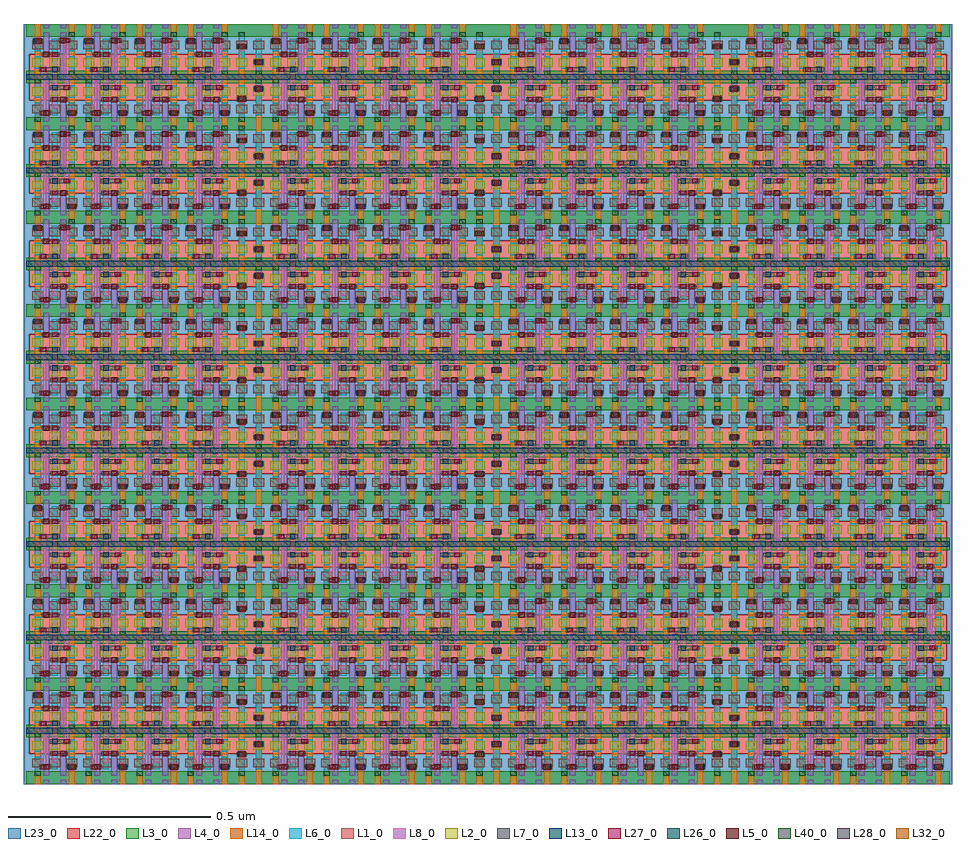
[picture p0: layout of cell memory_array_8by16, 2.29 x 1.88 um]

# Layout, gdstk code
import gdstk
lib = gdstk.Library(unit=1e-6, precision=2.5e-10)
def R(c, l, rs):  # rectangles x0, y0, x1, y1
    for r in rs: c.add(gdstk.rectangle(r[:2], r[2:], *l))
def A(c, l, x, y, w, h, nx, ny, dx, dy):  # array of equal rectangles
    R(c, l, [(x+i*dx, y+j*dy, x+i*dx+w, y+j*dy+h) for i in range(nx) for j in range(ny)])
L1_0 = (1, 0)
L2_0 = (2, 0)
L3_0 = (3, 0)
L4_0 = (4, 0)
L5_0 = (5, 0)
L6_0 = (6, 0)
L7_0 = (7, 0)
L8_0 = (8, 0)
L13_0 = (13, 0)
L14_0 = (14, 0)
L22_0 = (22, 0)
L23_0 = (23, 0)
L26_0 = (26, 0)
L27_0 = (27, 0)
L28_0 = (28, 0)
L32_0 = (32, 0)
L40_0 = (40, 0)

sram_6t = lib.new_cell('sram_6t')
A(sram_6t, L1_0, 0.015, 0.042, 0.027, 0.021, 3, 2, 0.042, 0.1575)
A(sram_6t, L2_0, 0.015, 0.0845, 0.027, 0.021, 3, 2, 0.042, 0.0725)
A(sram_6t, L3_0, 0, 0, 0.141, 0.0315, 1, 3, 0, 0.1155)
R(sram_6t, L4_0, [(0.042,0,0.057,0.0105), (0.084,0,0.099,0.0105), (0.042,0.021,0.057,0.126), (0.084,0.021,0.099,0.0825), (0.084,0.1225,0.099,0.126), (0.042,0.1365,0.057,0.14), (0.084,0.1365,0.099,0.2415), (0.042,0.18,0.057,0.2415), (0.042,0.252,0.057,0.2625), (0.084,0.252,0.099,0.2625)])
R(sram_6t, L5_0, [(0.042,0.036,0.057,0.049), (0.084,0.069,0.099,0.082), (0.042,0.1805,0.057,0.1935), (0.084,0.215,0.099,0.228)])
R(sram_6t, L6_0, [(0.021,0.021,0.036,0.068), (0.063,0.037,0.078,0.1105), (0.105,0.037,0.12,0.068), (0.021,0.0795,0.036,0.126), (0.105,0.0795,0.12,0.1105), (0.105,0.1365,0.12,0.183), (0.063,0.1445,0.078,0.2255), (0.021,0.152,0.036,0.183), (0.021,0.1945,0.036,0.2255), (0.105,0.1945,0.12,0.2415)])
R(sram_6t, L7_0, [(0.0315,0.037,0.0605,0.048), (0.1,0.037,0.125,0.048), (0.0595,0.07,0.1025,0.081), (0.058,0.0995,0.11,0.1105), (0.0315,0.1445,0.083,0.1555), (0.0385,0.1815,0.0815,0.1925), (0.016,0.2145,0.041,0.2255), (0.0805,0.216,0.11,0.227)])
R(sram_6t, L8_0, [(0.1055,0.0325,0.1195,0.0525), (0.0355,0.0345,0.0495,0.157), (0.0635,0.0525,0.0775,0.194), (0.092,0.098,0.106,0.2285), (0.0215,0.21,0.0355,0.23)])
R(sram_6t, L13_0, [(0.1025,0.0355,0.1225,0.0495), (0,0.1245,0.141,0.1385), (0.0185,0.213,0.0385,0.227)])
R(sram_6t, L14_0, [(0.021,0,0.036,0.2625), (0.105,0,0.12,0.2625)])
R(sram_6t, L22_0, [(0.0075,0.0745,0.1335,0.188)])
R(sram_6t, L23_0, [(-0.006,0,0.147,0.0745), (-0.006,0.188,0.147,0.2625)])
R(sram_6t, L26_0, [(0.106,0.036,0.119,0.049), (0.064,0.0985,0.077,0.1115), (0.064,0.1435,0.077,0.1565), (0.022,0.2135,0.035,0.2265)])
R(sram_6t, L27_0, [(0.0355,0.037,0.0495,0.047), (0.1055,0.0375,0.1195,0.0475), (0.0635,0.071,0.0775,0.081), (0.092,0.1005,0.106,0.1105), (0.0355,0.1445,0.0495,0.1545), (0.0635,0.1815,0.0775,0.1915), (0.0215,0.2145,0.0355,0.2245), (0.092,0.216,0.106,0.226)])
R(sram_6t, L28_0, [(0.1055,0.0355,0.1195,0.0495), (0.0635,0.1245,0.0775,0.1385), (0.0215,0.213,0.0355,0.227)])
R(sram_6t, L32_0, [(0.1055,0.0355,0.1195,0.0495), (0.0215,0.213,0.0355,0.227)])
R(sram_6t, L40_0, [(0.021,0.021,0.036,0.0315), (0.021,0.1155,0.036,0.126), (0.105,0.1365,0.12,0.147), (0.105,0.231,0.12,0.2415)])

sram_filler = lib.new_cell('sram_filler')
R(sram_filler, L1_0, [(0.022,0.042,0.049,0.063), (0.064,0.042,0.091,0.063)])
R(sram_filler, L2_0, [(0.022,0.0845,0.049,0.1055), (0.064,0.0845,0.091,0.1055)])
R(sram_filler, L3_0, [(0.001,0,0.112,0.0315), (0.001,0.1155,0.112,0.147)])
R(sram_filler, L6_0, [(0.028,0.021,0.043,0.1105), (0.07,0.037,0.085,0.126)])
R(sram_filler, L22_0, [(0.001,0.0745,0.112,0.147)])
R(sram_filler, L23_0, [(0.001,0,0.112,0.0745)])
R(sram_filler, L40_0, [(0.028,0.021,0.043,0.0315), (0.07,0.1155,0.085,0.126)])

memory_array_8by16 = lib.new_cell('memory_array_8by16')
A(memory_array_8by16, L1_0, 0.043, 0.0465, 0.027, 0.021, 12, 2, 0.042, 0.1575)
A(memory_array_8by16, L1_0, 0.631, 0.0465, 0.027, 0.021, 12, 2, 0.042, 0.1575)
A(memory_array_8by16, L1_0, 1.219, 0.0465, 0.027, 0.021, 12, 2, 0.042, 0.1575)
A(memory_array_8by16, L1_0, 1.807, 0.0465, 0.027, 0.021, 12, 2, 0.042, 0.1575)
A(memory_array_8by16, L1_0, 0.043, 0.2775, 0.027, 0.021, 12, 2, 0.042, 0.1575)
A(memory_array_8by16, L1_0, 0.631, 0.2775, 0.027, 0.021, 12, 2, 0.042, 0.1575)
A(memory_array_8by16, L1_0, 1.219, 0.2775, 0.027, 0.021, 12, 2, 0.042, 0.1575)
A(memory_array_8by16, L1_0, 1.807, 0.2775, 0.027, 0.021, 12, 2, 0.042, 0.1575)
A(memory_array_8by16, L1_0, 0.043, 0.5085, 0.027, 0.021, 12, 2, 0.042, 0.1575)
A(memory_array_8by16, L1_0, 0.631, 0.5085, 0.027, 0.021, 12, 2, 0.042, 0.1575)
A(memory_array_8by16, L1_0, 1.219, 0.5085, 0.027, 0.021, 12, 2, 0.042, 0.1575)
A(memory_array_8by16, L1_0, 1.807, 0.5085, 0.027, 0.021, 12, 2, 0.042, 0.1575)
A(memory_array_8by16, L1_0, 0.043, 0.7395, 0.027, 0.021, 12, 2, 0.042, 0.1575)
A(memory_array_8by16, L1_0, 0.631, 0.7395, 0.027, 0.021, 12, 2, 0.042, 0.1575)
A(memory_array_8by16, L1_0, 1.219, 0.7395, 0.027, 0.021, 12, 2, 0.042, 0.1575)
A(memory_array_8by16, L1_0, 1.807, 0.7395, 0.027, 0.021, 12, 2, 0.042, 0.1575)
A(memory_array_8by16, L1_0, 0.043, 0.9705, 0.027, 0.021, 12, 2, 0.042, 0.1575)
A(memory_array_8by16, L1_0, 0.631, 0.9705, 0.027, 0.021, 12, 2, 0.042, 0.1575)
A(memory_array_8by16, L1_0, 1.219, 0.9705, 0.027, 0.021, 12, 2, 0.042, 0.1575)
A(memory_array_8by16, L1_0, 1.807, 0.9705, 0.027, 0.021, 12, 2, 0.042, 0.1575)
A(memory_array_8by16, L1_0, 0.043, 1.2015, 0.027, 0.021, 12, 2, 0.042, 0.1575)
A(memory_array_8by16, L1_0, 0.631, 1.2015, 0.027, 0.021, 12, 2, 0.042, 0.1575)
A(memory_array_8by16, L1_0, 1.219, 1.2015, 0.027, 0.021, 12, 2, 0.042, 0.1575)
A(memory_array_8by16, L1_0, 1.807, 1.2015, 0.027, 0.021, 12, 2, 0.042, 0.1575)
A(memory_array_8by16, L1_0, 0.043, 1.4325, 0.027, 0.021, 12, 2, 0.042, 0.1575)
A(memory_array_8by16, L1_0, 0.631, 1.4325, 0.027, 0.021, 12, 2, 0.042, 0.1575)
A(memory_array_8by16, L1_0, 1.219, 1.4325, 0.027, 0.021, 12, 2, 0.042, 0.1575)
A(memory_array_8by16, L1_0, 1.807, 1.4325, 0.027, 0.021, 12, 2, 0.042, 0.1575)
A(memory_array_8by16, L1_0, 0.043, 1.6635, 0.027, 0.021, 12, 2, 0.042, 0.1575)
A(memory_array_8by16, L1_0, 0.631, 1.6635, 0.027, 0.021, 12, 2, 0.042, 0.1575)
A(memory_array_8by16, L1_0, 1.219, 1.6635, 0.027, 0.021, 12, 2, 0.042, 0.1575)
A(memory_array_8by16, L1_0, 1.807, 1.6635, 0.027, 0.021, 12, 2, 0.042, 0.1575)
A(memory_array_8by16, L4_0, 0.07, 0.0255, 0.015, 0.105, 4, 8, 0.126, 0.231)
A(memory_array_8by16, L4_0, 0.112, 0.0255, 0.015, 0.0615, 4, 8, 0.126, 0.231)
A(memory_array_8by16, L4_0, 0.658, 0.0255, 0.015, 0.105, 4, 8, 0.126, 0.231)
A(memory_array_8by16, L4_0, 0.7, 0.0255, 0.015, 0.0615, 4, 8, 0.126, 0.231)
A(memory_array_8by16, L4_0, 1.246, 0.0255, 0.015, 0.105, 4, 8, 0.126, 0.231)
A(memory_array_8by16, L4_0, 1.288, 0.0255, 0.015, 0.0615, 4, 8, 0.126, 0.231)
A(memory_array_8by16, L4_0, 1.834, 0.0255, 0.015, 0.105, 4, 8, 0.126, 0.231)
A(memory_array_8by16, L4_0, 1.876, 0.0255, 0.015, 0.0615, 4, 8, 0.126, 0.231)
A(memory_array_8by16, L4_0, 0.112, 0.141, 0.015, 0.105, 4, 8, 0.126, 0.231)
A(memory_array_8by16, L4_0, 0.7, 0.141, 0.015, 0.105, 4, 8, 0.126, 0.231)
A(memory_array_8by16, L4_0, 1.288, 0.141, 0.015, 0.105, 4, 8, 0.126, 0.231)
A(memory_array_8by16, L4_0, 1.876, 0.141, 0.015, 0.105, 4, 8, 0.126, 0.231)
A(memory_array_8by16, L4_0, 0.07, 0.1845, 0.015, 0.0615, 4, 8, 0.126, 0.231)
A(memory_array_8by16, L4_0, 0.658, 0.1845, 0.015, 0.0615, 4, 8, 0.126, 0.231)
A(memory_array_8by16, L4_0, 1.246, 0.1845, 0.015, 0.0615, 4, 8, 0.126, 0.231)
A(memory_array_8by16, L4_0, 1.834, 0.1845, 0.015, 0.0615, 4, 8, 0.126, 0.231)
R(memory_array_8by16, L4_0, [(0.07,0.0045,0.085,0.015), (0.112,0.0045,0.127,0.015), (0.196,0.0045,0.211,0.015), (0.238,0.0045,0.253,0.015), (0.322,0.0045,0.337,0.015), (0.364,0.0045,0.379,0.015), (0.448,0.0045,0.463,0.015), (0.49,0.0045,0.505,0.015), (0.658,0.0045,0.673,0.015), (0.7,0.0045,0.715,0.015), (0.784,0.0045,0.799,0.015), (0.826,0.0045,0.841,0.015), (0.91,0.0045,0.925,0.015), (0.952,0.0045,0.967,0.015), (1.036,0.0045,1.051,0.015), (1.078,0.0045,1.093,0.015), (1.246,0.0045,1.261,0.015), (1.288,0.0045,1.303,0.015), (1.372,0.0045,1.387,0.015), (1.414,0.0045,1.429,0.015), (1.498,0.0045,1.513,0.015), (1.54,0.0045,1.555,0.015), (1.624,0.0045,1.639,0.015), (1.666,0.0045,1.681,0.015), (1.834,0.0045,1.849,0.015), (1.876,0.0045,1.891,0.015), (1.96,0.0045,1.975,0.015), (2.002,0.0045,2.017,0.015), (2.086,0.0045,2.101,0.015), (2.128,0.0045,2.143,0.015), (2.212,0.0045,2.227,0.015), (2.254,0.0045,2.269,0.015), (0.07,1.8735,0.085,1.884), (0.112,1.8735,0.127,1.884), (0.196,1.8735,0.211,1.884), (0.238,1.8735,0.253,1.884), (0.322,1.8735,0.337,1.884), (0.364,1.8735,0.379,1.884), (0.448,1.8735,0.463,1.884), (0.49,1.8735,0.505,1.884), (0.658,1.8735,0.673,1.884), (0.7,1.8735,0.715,1.884), (0.784,1.8735,0.799,1.884), (0.826,1.8735,0.841,1.884), (0.91,1.8735,0.925,1.884), (0.952,1.8735,0.967,1.884), (1.036,1.8735,1.051,1.884), (1.078,1.8735,1.093,1.884), (1.246,1.8735,1.261,1.884), (1.288,1.8735,1.303,1.884), (1.372,1.8735,1.387,1.884), (1.414,1.8735,1.429,1.884), (1.498,1.8735,1.513,1.884), (1.54,1.8735,1.555,1.884), (1.624,1.8735,1.639,1.884), (1.666,1.8735,1.681,1.884), (1.834,1.8735,1.849,1.884), (1.876,1.8735,1.891,1.884), (1.96,1.8735,1.975,1.884), (2.002,1.8735,2.017,1.884), (2.086,1.8735,2.101,1.884), (2.128,1.8735,2.143,1.884), (2.212,1.8735,2.227,1.884), (2.254,1.8735,2.269,1.884)])
A(memory_array_8by16, L6_0, 0.553, 0.0725, 0.015, 0.011, 3, 2, 0.588, 0.129)
A(memory_array_8by16, L6_0, 0.595, 0.0975, 0.015, 0.011, 3, 2, 0.588, 0.0655)
A(memory_array_8by16, L6_0, 0.553, 0.3035, 0.015, 0.011, 3, 2, 0.588, 0.129)
A(memory_array_8by16, L6_0, 0.595, 0.3285, 0.015, 0.011, 3, 2, 0.588, 0.0655)
A(memory_array_8by16, L6_0, 0.553, 0.5315, 0.015, 0.011, 3, 2, 0.588, 0.129)
A(memory_array_8by16, L6_0, 0.595, 0.5565, 0.015, 0.011, 3, 2, 0.588, 0.0655)
A(memory_array_8by16, L6_0, 0.553, 0.766, 0.015, 0.011, 3, 2, 0.588, 0.129)
A(memory_array_8by16, L6_0, 0.595, 0.791, 0.015, 0.011, 3, 2, 0.588, 0.0655)
A(memory_array_8by16, L6_0, 0.553, 0.9975, 0.015, 0.011, 3, 2, 0.588, 0.129)
A(memory_array_8by16, L6_0, 0.595, 1.0225, 0.015, 0.011, 3, 2, 0.588, 0.0655)
A(memory_array_8by16, L6_0, 0.553, 1.231, 0.015, 0.011, 3, 2, 0.588, 0.129)
A(memory_array_8by16, L6_0, 0.595, 1.256, 0.015, 0.011, 3, 2, 0.588, 0.0655)
A(memory_array_8by16, L6_0, 0.553, 1.461, 0.015, 0.011, 3, 2, 0.588, 0.129)
A(memory_array_8by16, L6_0, 0.595, 1.486, 0.015, 0.011, 3, 2, 0.588, 0.0655)
A(memory_array_8by16, L6_0, 0.553, 1.6935, 0.015, 0.011, 3, 2, 0.588, 0.129)
A(memory_array_8by16, L6_0, 0.595, 1.7185, 0.015, 0.011, 3, 2, 0.588, 0.0655)
A(memory_array_8by16, L7_0, 0.548, 0.0725, 0.025, 0.011, 3, 2, 0.588, 0.129)
A(memory_array_8by16, L7_0, 0.59, 0.0975, 0.025, 0.011, 3, 2, 0.588, 0.0655)
A(memory_array_8by16, L7_0, 0.548, 0.3035, 0.025, 0.011, 3, 2, 0.588, 0.129)
A(memory_array_8by16, L7_0, 0.59, 0.3285, 0.025, 0.011, 3, 2, 0.588, 0.0655)
A(memory_array_8by16, L7_0, 0.548, 0.5315, 0.025, 0.011, 3, 2, 0.588, 0.129)
A(memory_array_8by16, L7_0, 0.59, 0.5565, 0.025, 0.011, 3, 2, 0.588, 0.0655)
A(memory_array_8by16, L7_0, 0.548, 0.766, 0.025, 0.011, 3, 2, 0.588, 0.129)
A(memory_array_8by16, L7_0, 0.59, 0.791, 0.025, 0.011, 3, 2, 0.588, 0.0655)
A(memory_array_8by16, L7_0, 0.548, 0.9975, 0.025, 0.011, 3, 2, 0.588, 0.129)
A(memory_array_8by16, L7_0, 0.59, 1.0225, 0.025, 0.011, 3, 2, 0.588, 0.0655)
A(memory_array_8by16, L7_0, 0.548, 1.231, 0.025, 0.011, 3, 2, 0.588, 0.129)
A(memory_array_8by16, L7_0, 0.59, 1.256, 0.025, 0.011, 3, 2, 0.588, 0.0655)
A(memory_array_8by16, L7_0, 0.548, 1.461, 0.025, 0.011, 3, 2, 0.588, 0.129)
A(memory_array_8by16, L7_0, 0.59, 1.486, 0.025, 0.011, 3, 2, 0.588, 0.0655)
A(memory_array_8by16, L7_0, 0.548, 1.6935, 0.025, 0.011, 3, 2, 0.588, 0.129)
A(memory_array_8by16, L7_0, 0.59, 1.7185, 0.025, 0.011, 3, 2, 0.588, 0.0655)
A(memory_array_8by16, L8_0, 0.5535, 0.068, 0.014, 0.02, 3, 2, 0.588, 0.129)
A(memory_array_8by16, L8_0, 0.5955, 0.093, 0.014, 0.02, 3, 2, 0.588, 0.0655)
A(memory_array_8by16, L8_0, 0.5535, 0.299, 0.014, 0.02, 3, 2, 0.588, 0.129)
A(memory_array_8by16, L8_0, 0.5955, 0.324, 0.014, 0.02, 3, 2, 0.588, 0.0655)
A(memory_array_8by16, L8_0, 0.5535, 0.527, 0.014, 0.02, 3, 2, 0.588, 0.129)
A(memory_array_8by16, L8_0, 0.5955, 0.552, 0.014, 0.02, 3, 2, 0.588, 0.0655)
A(memory_array_8by16, L8_0, 0.5535, 0.7615, 0.014, 0.02, 3, 2, 0.588, 0.129)
A(memory_array_8by16, L8_0, 0.5955, 0.7865, 0.014, 0.02, 3, 2, 0.588, 0.0655)
A(memory_array_8by16, L8_0, 0.5535, 0.993, 0.014, 0.02, 3, 2, 0.588, 0.129)
A(memory_array_8by16, L8_0, 0.5955, 1.018, 0.014, 0.02, 3, 2, 0.588, 0.0655)
A(memory_array_8by16, L8_0, 0.5535, 1.2265, 0.014, 0.02, 3, 2, 0.588, 0.129)
A(memory_array_8by16, L8_0, 0.5955, 1.2515, 0.014, 0.02, 3, 2, 0.588, 0.0655)
A(memory_array_8by16, L8_0, 0.5535, 1.4565, 0.014, 0.02, 3, 2, 0.588, 0.129)
A(memory_array_8by16, L8_0, 0.5955, 1.4815, 0.014, 0.02, 3, 2, 0.588, 0.0655)
A(memory_array_8by16, L8_0, 0.5535, 1.689, 0.014, 0.02, 3, 2, 0.588, 0.129)
A(memory_array_8by16, L8_0, 0.5955, 1.714, 0.014, 0.02, 3, 2, 0.588, 0.0655)
A(memory_array_8by16, L13_0, 0.5505, 0.071, 0.02, 0.014, 3, 2, 0.588, 0.129)
A(memory_array_8by16, L13_0, 0.5925, 0.096, 0.02, 0.014, 3, 2, 0.588, 0.0655)
A(memory_array_8by16, L13_0, 1.135, 0.129, 0.069, 0.014, 1, 8, 0, 0.231)
A(memory_array_8by16, L13_0, 1.723, 0.129, 0.069, 0.014, 1, 8, 0, 0.231)
A(memory_array_8by16, L13_0, 0.5505, 0.302, 0.02, 0.014, 3, 2, 0.588, 0.129)
A(memory_array_8by16, L13_0, 0.5925, 0.327, 0.02, 0.014, 3, 2, 0.588, 0.0655)
A(memory_array_8by16, L13_0, 0.5505, 0.53, 0.02, 0.014, 3, 2, 0.588, 0.129)
A(memory_array_8by16, L13_0, 0.5925, 0.555, 0.02, 0.014, 3, 2, 0.588, 0.0655)
A(memory_array_8by16, L13_0, 0.5505, 0.7645, 0.02, 0.014, 3, 2, 0.588, 0.129)
A(memory_array_8by16, L13_0, 0.5925, 0.7895, 0.02, 0.014, 3, 2, 0.588, 0.0655)
A(memory_array_8by16, L13_0, 0.5465, 0.822, 0.0705, 0.014, 1, 3, 0, 0.462)
A(memory_array_8by16, L13_0, 0.5505, 0.996, 0.02, 0.014, 3, 2, 0.588, 0.129)
A(memory_array_8by16, L13_0, 0.5925, 1.021, 0.02, 0.014, 3, 2, 0.588, 0.0655)
A(memory_array_8by16, L13_0, 0.5505, 1.2295, 0.02, 0.014, 3, 2, 0.588, 0.129)
A(memory_array_8by16, L13_0, 0.5925, 1.2545, 0.02, 0.014, 3, 2, 0.588, 0.0655)
A(memory_array_8by16, L13_0, 0.5505, 1.4595, 0.02, 0.014, 3, 2, 0.588, 0.129)
A(memory_array_8by16, L13_0, 0.5925, 1.4845, 0.02, 0.014, 3, 2, 0.588, 0.0655)
A(memory_array_8by16, L13_0, 0.5505, 1.692, 0.02, 0.014, 3, 2, 0.588, 0.129)
A(memory_array_8by16, L13_0, 0.5925, 1.717, 0.02, 0.014, 3, 2, 0.588, 0.0655)
R(memory_array_8by16, L13_0, [(0.5465,0.129,0.616,0.143), (2.2945,0.135,2.3005,0.142), (0.547,0.36,0.619,0.374), (2.2945,0.363,2.3085,0.373), (0.547,0.591,0.6355,0.605), (2.2945,0.5925,2.308,0.603), (2.2955,0.8235,2.3085,0.8335), (0.547,1.053,0.617,1.067), (2.2965,1.0545,2.309,1.066), (2.2965,1.2855,2.308,1.2955), (0.547,1.515,0.617,1.529), (2.2965,1.5175,2.308,1.5265), (2.295,1.7485,2.307,1.758)])
A(memory_array_8by16, L14_0, 0.553, 0.0045, 0.015, 1.8335, 3, 1, 0.588, 0)
A(memory_array_8by16, L14_0, 0.595, 0.0045, 0.015, 1.795, 3, 1, 0.588, 0)
R(memory_array_8by16, L14_0, [(0.513,0.006,0.5235,0.018), (1.228,0.006,1.2385,0.0185), (1.3105,0.006,1.321,0.018), (0.135,0.0065,0.1465,0.018), (1.8995,0.0065,1.9095,0.0185), (0.0505,0.007,0.062,0.0205), (0.2615,0.007,0.271,0.018), (0.3875,0.007,0.397,0.018), (0.4295,0.007,0.441,0.0185), (0.7235,0.007,0.734,0.0185), (0.7655,0.007,0.7755,0.0185), (0.892,0.007,0.901,0.0175), (0.976,0.007,0.9845,0.0175), (1.354,0.007,1.363,0.0185), (1.4375,0.007,1.447,0.017), (1.4795,0.007,1.488,0.0165), (1.6885,0.007,1.7,0.0165), (1.8155,0.007,1.8255,0.0195), (2.2775,0.007,2.2865,0.018), (0.177,0.0075,0.187,0.0185), (0.303,0.0075,0.3135,0.019), (2.025,0.0075,2.0335,0.0195), (2.194,0.0075,2.203,0.021), (0.64,0.008,0.649,0.019), (1.564,0.008,1.575,0.016), (1.605,0.008,1.6155,0.019), (1.942,0.008,1.95,0.017), (2.1535,0.008,2.1615,0.018), (0.8495,0.009,0.859,0.0195), (1.102,0.009,1.1115,0.017), (2.068,0.009,2.076,0.0185), (1.0185,0.0095,1.026,0.018)])
A(memory_array_8by16, L23_0, 0.553, 0.0045, 0.057, 0.0745, 3, 2, 0.588, 1.805)
A(memory_array_8by16, L23_0, 0.022, 0.079, 0.0135, 0.1135, 1, 8, 0, 0.231)
A(memory_array_8by16, L23_0, 2.3035, 0.079, 0.0135, 0.1135, 1, 8, 0, 0.231)
A(memory_array_8by16, L23_0, 0.553, 0.1925, 0.057, 0.1175, 3, 7, 0.588, 0.231)
A(memory_array_8by16, L26_0, 0.554, 0.0715, 0.013, 0.013, 3, 2, 0.588, 0.129)
A(memory_array_8by16, L26_0, 0.596, 0.0965, 0.013, 0.013, 3, 2, 0.588, 0.0655)
A(memory_array_8by16, L26_0, 0.554, 0.3025, 0.013, 0.013, 3, 2, 0.588, 0.129)
A(memory_array_8by16, L26_0, 0.596, 0.3275, 0.013, 0.013, 3, 2, 0.588, 0.0655)
A(memory_array_8by16, L26_0, 0.554, 0.5305, 0.013, 0.013, 3, 2, 0.588, 0.129)
A(memory_array_8by16, L26_0, 0.596, 0.5555, 0.013, 0.013, 3, 2, 0.588, 0.0655)
A(memory_array_8by16, L26_0, 0.554, 0.765, 0.013, 0.013, 3, 2, 0.588, 0.129)
A(memory_array_8by16, L26_0, 0.596, 0.79, 0.013, 0.013, 3, 2, 0.588, 0.0655)
A(memory_array_8by16, L26_0, 0.554, 0.9965, 0.013, 0.013, 3, 2, 0.588, 0.129)
A(memory_array_8by16, L26_0, 0.596, 1.0215, 0.013, 0.013, 3, 2, 0.588, 0.0655)
A(memory_array_8by16, L26_0, 0.554, 1.23, 0.013, 0.013, 3, 2, 0.588, 0.129)
A(memory_array_8by16, L26_0, 0.596, 1.255, 0.013, 0.013, 3, 2, 0.588, 0.0655)
A(memory_array_8by16, L26_0, 0.554, 1.46, 0.013, 0.013, 3, 2, 0.588, 0.129)
A(memory_array_8by16, L26_0, 0.596, 1.485, 0.013, 0.013, 3, 2, 0.588, 0.0655)
A(memory_array_8by16, L26_0, 0.554, 1.6925, 0.013, 0.013, 3, 2, 0.588, 0.129)
A(memory_array_8by16, L26_0, 0.596, 1.7175, 0.013, 0.013, 3, 2, 0.588, 0.0655)
A(memory_array_8by16, L27_0, 0.5535, 0.073, 0.014, 0.01, 3, 2, 0.588, 0.129)
A(memory_array_8by16, L27_0, 0.5955, 0.098, 0.014, 0.01, 3, 2, 0.588, 0.0655)
A(memory_array_8by16, L27_0, 0.5535, 0.304, 0.014, 0.01, 3, 2, 0.588, 0.129)
A(memory_array_8by16, L27_0, 0.5955, 0.329, 0.014, 0.01, 3, 2, 0.588, 0.0655)
A(memory_array_8by16, L27_0, 0.5535, 0.532, 0.014, 0.01, 3, 2, 0.588, 0.129)
A(memory_array_8by16, L27_0, 0.5955, 0.557, 0.014, 0.01, 3, 2, 0.588, 0.0655)
A(memory_array_8by16, L27_0, 0.5535, 0.7665, 0.014, 0.01, 3, 2, 0.588, 0.129)
A(memory_array_8by16, L27_0, 0.5955, 0.7915, 0.014, 0.01, 3, 2, 0.588, 0.0655)
A(memory_array_8by16, L27_0, 0.5535, 0.998, 0.014, 0.01, 3, 2, 0.588, 0.129)
A(memory_array_8by16, L27_0, 0.5955, 1.023, 0.014, 0.01, 3, 2, 0.588, 0.0655)
A(memory_array_8by16, L27_0, 0.5535, 1.2315, 0.014, 0.01, 3, 2, 0.588, 0.129)
A(memory_array_8by16, L27_0, 0.5955, 1.2565, 0.014, 0.01, 3, 2, 0.588, 0.0655)
A(memory_array_8by16, L27_0, 0.5535, 1.4615, 0.014, 0.01, 3, 2, 0.588, 0.129)
A(memory_array_8by16, L27_0, 0.5955, 1.4865, 0.014, 0.01, 3, 2, 0.588, 0.0655)
A(memory_array_8by16, L27_0, 0.5535, 1.694, 0.014, 0.01, 3, 2, 0.588, 0.129)
A(memory_array_8by16, L27_0, 0.5955, 1.719, 0.014, 0.01, 3, 2, 0.588, 0.0655)
A(memory_array_8by16, L28_0, 0.5535, 0.071, 0.014, 0.014, 3, 2, 0.588, 0.129)
A(memory_array_8by16, L28_0, 0.5955, 0.096, 0.014, 0.014, 3, 2, 0.588, 0.0655)
A(memory_array_8by16, L28_0, 0.5535, 0.302, 0.014, 0.014, 3, 2, 0.588, 0.129)
A(memory_array_8by16, L28_0, 0.5955, 0.327, 0.014, 0.014, 3, 2, 0.588, 0.0655)
A(memory_array_8by16, L28_0, 0.5535, 0.53, 0.014, 0.014, 3, 2, 0.588, 0.129)
A(memory_array_8by16, L28_0, 0.5955, 0.555, 0.014, 0.014, 3, 2, 0.588, 0.0655)
A(memory_array_8by16, L28_0, 0.5535, 0.7645, 0.014, 0.014, 3, 2, 0.588, 0.129)
A(memory_array_8by16, L28_0, 0.5955, 0.7895, 0.014, 0.014, 3, 2, 0.588, 0.0655)
A(memory_array_8by16, L28_0, 0.5535, 0.996, 0.014, 0.014, 3, 2, 0.588, 0.129)
A(memory_array_8by16, L28_0, 0.5955, 1.021, 0.014, 0.014, 3, 2, 0.588, 0.0655)
A(memory_array_8by16, L28_0, 0.5535, 1.2295, 0.014, 0.014, 3, 2, 0.588, 0.129)
A(memory_array_8by16, L28_0, 0.5955, 1.2545, 0.014, 0.014, 3, 2, 0.588, 0.0655)
A(memory_array_8by16, L28_0, 0.5535, 1.4595, 0.014, 0.014, 3, 2, 0.588, 0.129)
A(memory_array_8by16, L28_0, 0.5955, 1.4845, 0.014, 0.014, 3, 2, 0.588, 0.0655)
A(memory_array_8by16, L28_0, 0.5535, 1.692, 0.014, 0.014, 3, 2, 0.588, 0.129)
A(memory_array_8by16, L28_0, 0.5955, 1.717, 0.014, 0.014, 3, 2, 0.588, 0.0655)
A(memory_array_8by16, L32_0, 0.5535, 0.071, 0.014, 0.014, 3, 2, 0.588, 0.129)
A(memory_array_8by16, L32_0, 0.5955, 0.096, 0.014, 0.014, 3, 2, 0.588, 0.0655)
A(memory_array_8by16, L32_0, 0.5535, 0.302, 0.014, 0.014, 3, 2, 0.588, 0.129)
A(memory_array_8by16, L32_0, 0.5955, 0.327, 0.014, 0.014, 3, 2, 0.588, 0.0655)
A(memory_array_8by16, L32_0, 0.5535, 0.53, 0.014, 0.014, 3, 2, 0.588, 0.129)
A(memory_array_8by16, L32_0, 0.5955, 0.555, 0.014, 0.014, 3, 2, 0.588, 0.0655)
A(memory_array_8by16, L32_0, 0.5535, 0.7645, 0.014, 0.014, 3, 2, 0.588, 0.129)
A(memory_array_8by16, L32_0, 0.5955, 0.7895, 0.014, 0.014, 3, 2, 0.588, 0.0655)
A(memory_array_8by16, L32_0, 0.5535, 0.996, 0.014, 0.014, 3, 2, 0.588, 0.129)
A(memory_array_8by16, L32_0, 0.5955, 1.021, 0.014, 0.014, 3, 2, 0.588, 0.0655)
A(memory_array_8by16, L32_0, 0.5535, 1.2295, 0.014, 0.014, 3, 2, 0.588, 0.129)
A(memory_array_8by16, L32_0, 0.5955, 1.2545, 0.014, 0.014, 3, 2, 0.588, 0.0655)
A(memory_array_8by16, L32_0, 0.5535, 1.4595, 0.014, 0.014, 3, 2, 0.588, 0.129)
A(memory_array_8by16, L32_0, 0.5955, 1.4845, 0.014, 0.014, 3, 2, 0.588, 0.0655)
A(memory_array_8by16, L32_0, 0.5535, 1.692, 0.014, 0.014, 3, 2, 0.588, 0.129)
A(memory_array_8by16, L32_0, 0.5955, 1.717, 0.014, 0.014, 3, 2, 0.588, 0.0655)
memory_array_8by16.add(gdstk.Reference(sram_6t, (0.868,0.2355)))
memory_array_8by16.add(gdstk.Reference(sram_6t, (0.994,0.2355)))
memory_array_8by16.add(gdstk.Reference(sram_6t, (0.742,0.2355)))
memory_array_8by16.add(gdstk.Reference(sram_6t, (0.616,0.2355)))
memory_array_8by16.add(gdstk.Reference(sram_6t, (1.792,0.2355)))
memory_array_8by16.add(gdstk.Reference(sram_6t, (1.918,0.2355)))
memory_array_8by16.add(gdstk.Reference(sram_6t, (2.17,0.2355)))
memory_array_8by16.add(gdstk.Reference(sram_6t, (2.044,0.2355)))
memory_array_8by16.add(gdstk.Reference(sram_6t, (0.406,0.6975)))
memory_array_8by16.add(gdstk.Reference(sram_6t, (0.28,0.6975)))
memory_array_8by16.add(gdstk.Reference(sram_6t, (1.456,0.2355)))
memory_array_8by16.add(gdstk.Reference(sram_6t, (1.582,0.2355)))
memory_array_8by16.add(gdstk.Reference(sram_6t, (1.33,0.2355)))
memory_array_8by16.add(gdstk.Reference(sram_6t, (1.204,0.2355)))
memory_array_8by16.add(gdstk.Reference(sram_6t, (1.204,0.0045)))
memory_array_8by16.add(gdstk.Reference(sram_6t, (1.33,0.0045)))
memory_array_8by16.add(gdstk.Reference(sram_6t, (1.582,0.0045)))
memory_array_8by16.add(gdstk.Reference(sram_6t, (1.456,0.0045)))
memory_array_8by16.add(gdstk.Reference(sram_6t, (0.154,0.6975)))
memory_array_8by16.add(gdstk.Reference(sram_6t, (0.028,0.6975)))
memory_array_8by16.add(gdstk.Reference(sram_6t, (2.044,0.0045)))
memory_array_8by16.add(gdstk.Reference(sram_6t, (2.17,0.0045)))
memory_array_8by16.add(gdstk.Reference(sram_6t, (1.918,0.0045)))
memory_array_8by16.add(gdstk.Reference(sram_6t, (1.792,0.0045)))
memory_array_8by16.add(gdstk.Reference(sram_6t, (0.616,0.0045)))
memory_array_8by16.add(gdstk.Reference(sram_6t, (0.742,0.0045)))
memory_array_8by16.add(gdstk.Reference(sram_6t, (0.994,0.0045)))
memory_array_8by16.add(gdstk.Reference(sram_6t, (0.868,0.0045)))
memory_array_8by16.add(gdstk.Reference(sram_6t, (0.28,0.0045)))
memory_array_8by16.add(gdstk.Reference(sram_6t, (0.406,0.0045)))
memory_array_8by16.add(gdstk.Reference(sram_6t, (0.154,0.0045)))
memory_array_8by16.add(gdstk.Reference(sram_6t, (0.028,0.0045)))
memory_array_8by16.add(gdstk.Reference(sram_6t, (0.028,0.4665)))
memory_array_8by16.add(gdstk.Reference(sram_6t, (0.154,0.4665)))
memory_array_8by16.add(gdstk.Reference(sram_6t, (0.406,0.4665)))
memory_array_8by16.add(gdstk.Reference(sram_6t, (0.28,0.4665)))
memory_array_8by16.add(gdstk.Reference(sram_6t, (0.868,0.4665)))
memory_array_8by16.add(gdstk.Reference(sram_6t, (0.994,0.4665)))
memory_array_8by16.add(gdstk.Reference(sram_6t, (0.742,0.4665)))
memory_array_8by16.add(gdstk.Reference(sram_6t, (0.616,0.4665)))
memory_array_8by16.add(gdstk.Reference(sram_6t, (1.792,0.4665)))
memory_array_8by16.add(gdstk.Reference(sram_6t, (1.918,0.4665)))
memory_array_8by16.add(gdstk.Reference(sram_6t, (2.17,0.4665)))
memory_array_8by16.add(gdstk.Reference(sram_6t, (2.044,0.4665)))
memory_array_8by16.add(gdstk.Reference(sram_6t, (1.456,0.4665)))
memory_array_8by16.add(gdstk.Reference(sram_6t, (1.582,0.4665)))
memory_array_8by16.add(gdstk.Reference(sram_6t, (1.33,0.4665)))
memory_array_8by16.add(gdstk.Reference(sram_6t, (1.204,0.4665)))
memory_array_8by16.add(gdstk.Reference(sram_6t, (1.204,0.6975)))
memory_array_8by16.add(gdstk.Reference(sram_6t, (1.33,0.6975)))
memory_array_8by16.add(gdstk.Reference(sram_6t, (1.582,0.6975)))
memory_array_8by16.add(gdstk.Reference(sram_6t, (1.456,0.6975)))
memory_array_8by16.add(gdstk.Reference(sram_6t, (2.044,0.6975)))
memory_array_8by16.add(gdstk.Reference(sram_6t, (2.17,0.6975)))
memory_array_8by16.add(gdstk.Reference(sram_6t, (1.918,0.6975)))
memory_array_8by16.add(gdstk.Reference(sram_6t, (1.792,0.6975)))
memory_array_8by16.add(gdstk.Reference(sram_6t, (0.616,0.6975)))
memory_array_8by16.add(gdstk.Reference(sram_6t, (0.742,0.6975)))
memory_array_8by16.add(gdstk.Reference(sram_6t, (0.994,0.6975)))
memory_array_8by16.add(gdstk.Reference(sram_6t, (0.868,0.6975)))
memory_array_8by16.add(gdstk.Reference(sram_6t, (0.028,0.2355)))
memory_array_8by16.add(gdstk.Reference(sram_6t, (0.154,0.2355)))
memory_array_8by16.add(gdstk.Reference(sram_6t, (0.406,0.2355)))
memory_array_8by16.add(gdstk.Reference(sram_6t, (0.28,0.2355)))
memory_array_8by16.add(gdstk.Reference(sram_6t, (0.28,1.1595)))
memory_array_8by16.add(gdstk.Reference(sram_6t, (0.406,1.1595)))
memory_array_8by16.add(gdstk.Reference(sram_6t, (0.154,1.1595)))
memory_array_8by16.add(gdstk.Reference(sram_6t, (0.028,1.1595)))
memory_array_8by16.add(gdstk.Reference(sram_6t, (0.868,1.6215)))
memory_array_8by16.add(gdstk.Reference(sram_6t, (0.994,1.6215)))
memory_array_8by16.add(gdstk.Reference(sram_6t, (0.742,1.6215)))
memory_array_8by16.add(gdstk.Reference(sram_6t, (0.616,1.6215)))
memory_array_8by16.add(gdstk.Reference(sram_6t, (1.792,1.6215)))
memory_array_8by16.add(gdstk.Reference(sram_6t, (1.918,1.6215)))
memory_array_8by16.add(gdstk.Reference(sram_6t, (2.17,1.6215)))
memory_array_8by16.add(gdstk.Reference(sram_6t, (2.044,1.6215)))
memory_array_8by16.add(gdstk.Reference(sram_6t, (1.456,1.6215)))
memory_array_8by16.add(gdstk.Reference(sram_6t, (1.582,1.6215)))
memory_array_8by16.add(gdstk.Reference(sram_6t, (1.33,1.6215)))
memory_array_8by16.add(gdstk.Reference(sram_6t, (1.204,1.6215)))
memory_array_8by16.add(gdstk.Reference(sram_6t, (1.204,1.3905)))
memory_array_8by16.add(gdstk.Reference(sram_6t, (1.33,1.3905)))
memory_array_8by16.add(gdstk.Reference(sram_6t, (1.582,1.3905)))
memory_array_8by16.add(gdstk.Reference(sram_6t, (1.456,1.3905)))
memory_array_8by16.add(gdstk.Reference(sram_6t, (2.044,1.3905)))
memory_array_8by16.add(gdstk.Reference(sram_6t, (2.17,1.3905)))
memory_array_8by16.add(gdstk.Reference(sram_6t, (1.918,1.3905)))
memory_array_8by16.add(gdstk.Reference(sram_6t, (1.792,1.3905)))
memory_array_8by16.add(gdstk.Reference(sram_6t, (0.616,1.3905)))
memory_array_8by16.add(gdstk.Reference(sram_6t, (0.742,1.3905)))
memory_array_8by16.add(gdstk.Reference(sram_6t, (0.994,1.3905)))
memory_array_8by16.add(gdstk.Reference(sram_6t, (0.868,1.3905)))
memory_array_8by16.add(gdstk.Reference(sram_6t, (0.28,1.3905)))
memory_array_8by16.add(gdstk.Reference(sram_6t, (0.406,1.3905)))
memory_array_8by16.add(gdstk.Reference(sram_6t, (0.154,1.3905)))
memory_array_8by16.add(gdstk.Reference(sram_6t, (0.028,1.3905)))
memory_array_8by16.add(gdstk.Reference(sram_6t, (0.028,0.9285)))
memory_array_8by16.add(gdstk.Reference(sram_6t, (0.154,0.9285)))
memory_array_8by16.add(gdstk.Reference(sram_6t, (0.406,0.9285)))
memory_array_8by16.add(gdstk.Reference(sram_6t, (0.28,0.9285)))
memory_array_8by16.add(gdstk.Reference(sram_6t, (0.868,0.9285)))
memory_array_8by16.add(gdstk.Reference(sram_6t, (0.994,0.9285)))
memory_array_8by16.add(gdstk.Reference(sram_6t, (0.742,0.9285)))
memory_array_8by16.add(gdstk.Reference(sram_6t, (0.616,0.9285)))
memory_array_8by16.add(gdstk.Reference(sram_6t, (1.792,0.9285)))
memory_array_8by16.add(gdstk.Reference(sram_6t, (1.918,0.9285)))
memory_array_8by16.add(gdstk.Reference(sram_6t, (2.17,0.9285)))
memory_array_8by16.add(gdstk.Reference(sram_6t, (2.044,0.9285)))
memory_array_8by16.add(gdstk.Reference(sram_6t, (0.028,1.6215)))
memory_array_8by16.add(gdstk.Reference(sram_6t, (0.154,1.6215)))
memory_array_8by16.add(gdstk.Reference(sram_6t, (1.456,0.9285)))
memory_array_8by16.add(gdstk.Reference(sram_6t, (1.582,0.9285)))
memory_array_8by16.add(gdstk.Reference(sram_6t, (1.33,0.9285)))
memory_array_8by16.add(gdstk.Reference(sram_6t, (1.204,0.9285)))
memory_array_8by16.add(gdstk.Reference(sram_6t, (1.204,1.1595)))
memory_array_8by16.add(gdstk.Reference(sram_6t, (1.33,1.1595)))
memory_array_8by16.add(gdstk.Reference(sram_6t, (1.582,1.1595)))
memory_array_8by16.add(gdstk.Reference(sram_6t, (1.456,1.1595)))
memory_array_8by16.add(gdstk.Reference(sram_6t, (0.28,1.6215)))
memory_array_8by16.add(gdstk.Reference(sram_6t, (0.406,1.6215)))
memory_array_8by16.add(gdstk.Reference(sram_6t, (2.044,1.1595)))
memory_array_8by16.add(gdstk.Reference(sram_6t, (2.17,1.1595)))
memory_array_8by16.add(gdstk.Reference(sram_6t, (1.918,1.1595)))
memory_array_8by16.add(gdstk.Reference(sram_6t, (1.792,1.1595)))
memory_array_8by16.add(gdstk.Reference(sram_6t, (0.616,1.1595)))
memory_array_8by16.add(gdstk.Reference(sram_6t, (0.742,1.1595)))
memory_array_8by16.add(gdstk.Reference(sram_6t, (0.994,1.1595)))
memory_array_8by16.add(gdstk.Reference(sram_6t, (0.868,1.1595)))
memory_array_8by16.add(gdstk.Reference(sram_filler, (0.525,0.9285)))
memory_array_8by16.add(gdstk.Reference(sram_filler, (0.525,1.191), x_reflection=True))
memory_array_8by16.add(gdstk.Reference(sram_filler, (0.525,1.422), x_reflection=True))
memory_array_8by16.add(gdstk.Reference(sram_filler, (0.525,1.1595)))
memory_array_8by16.add(gdstk.Reference(sram_filler, (0.525,1.6215)))
memory_array_8by16.add(gdstk.Reference(sram_filler, (0.525,1.884), x_reflection=True))
memory_array_8by16.add(gdstk.Reference(sram_filler, (0.525,1.653), x_reflection=True))
memory_array_8by16.add(gdstk.Reference(sram_filler, (0.525,1.3905)))
memory_array_8by16.add(gdstk.Reference(sram_filler, (0.525,0.4665)))
memory_array_8by16.add(gdstk.Reference(sram_filler, (0.525,0.729), x_reflection=True))
memory_array_8by16.add(gdstk.Reference(sram_filler, (0.525,0.96), x_reflection=True))
memory_array_8by16.add(gdstk.Reference(sram_filler, (0.525,0.6975)))
memory_array_8by16.add(gdstk.Reference(sram_filler, (0.525,0.2355)))
memory_array_8by16.add(gdstk.Reference(sram_filler, (0.525,0.498), x_reflection=True))
memory_array_8by16.add(gdstk.Reference(sram_filler, (0.525,0.267), x_reflection=True))
memory_array_8by16.add(gdstk.Reference(sram_filler, (0.525,0.0045)))
memory_array_8by16.add(gdstk.Reference(sram_filler, (1.701,1.884), x_reflection=True))
memory_array_8by16.add(gdstk.Reference(sram_filler, (1.701,1.6215)))
memory_array_8by16.add(gdstk.Reference(sram_filler, (1.701,1.1595)))
memory_array_8by16.add(gdstk.Reference(sram_filler, (1.701,1.422), x_reflection=True))
memory_array_8by16.add(gdstk.Reference(sram_filler, (1.701,1.191), x_reflection=True))
memory_array_8by16.add(gdstk.Reference(sram_filler, (1.701,0.9285)))
memory_array_8by16.add(gdstk.Reference(sram_filler, (1.701,0.0045)))
memory_array_8by16.add(gdstk.Reference(sram_filler, (1.701,0.267), x_reflection=True))
memory_array_8by16.add(gdstk.Reference(sram_filler, (1.701,0.498), x_reflection=True))
memory_array_8by16.add(gdstk.Reference(sram_filler, (1.701,0.2355)))
memory_array_8by16.add(gdstk.Reference(sram_filler, (1.701,0.6975)))
memory_array_8by16.add(gdstk.Reference(sram_filler, (1.701,0.96), x_reflection=True))
memory_array_8by16.add(gdstk.Reference(sram_filler, (1.701,0.729), x_reflection=True))
memory_array_8by16.add(gdstk.Reference(sram_filler, (1.701,0.4665)))
memory_array_8by16.add(gdstk.Reference(sram_filler, (1.701,1.3905)))
memory_array_8by16.add(gdstk.Reference(sram_filler, (1.701,1.653), x_reflection=True))
memory_array_8by16.add(gdstk.Reference(sram_filler, (1.113,0.0045)))
memory_array_8by16.add(gdstk.Reference(sram_filler, (1.113,0.267), x_reflection=True))
memory_array_8by16.add(gdstk.Reference(sram_filler, (1.113,0.9285)))
memory_array_8by16.add(gdstk.Reference(sram_filler, (1.113,1.191), x_reflection=True))
memory_array_8by16.add(gdstk.Reference(sram_filler, (1.113,1.422), x_reflection=True))
memory_array_8by16.add(gdstk.Reference(sram_filler, (1.113,1.1595)))
memory_array_8by16.add(gdstk.Reference(sram_filler, (1.113,1.6215)))
memory_array_8by16.add(gdstk.Reference(sram_filler, (1.113,1.884), x_reflection=True))
memory_array_8by16.add(gdstk.Reference(sram_filler, (1.113,1.653), x_reflection=True))
memory_array_8by16.add(gdstk.Reference(sram_filler, (1.113,1.3905)))
memory_array_8by16.add(gdstk.Reference(sram_filler, (1.113,0.4665)))
memory_array_8by16.add(gdstk.Reference(sram_filler, (1.113,0.729), x_reflection=True))
memory_array_8by16.add(gdstk.Reference(sram_filler, (1.113,0.96), x_reflection=True))
memory_array_8by16.add(gdstk.Reference(sram_filler, (1.113,0.6975)))
memory_array_8by16.add(gdstk.Reference(sram_filler, (1.113,0.2355)))
memory_array_8by16.add(gdstk.Reference(sram_filler, (1.113,0.498), x_reflection=True))

lib.write_gds('memory_array_8by16.gds')
